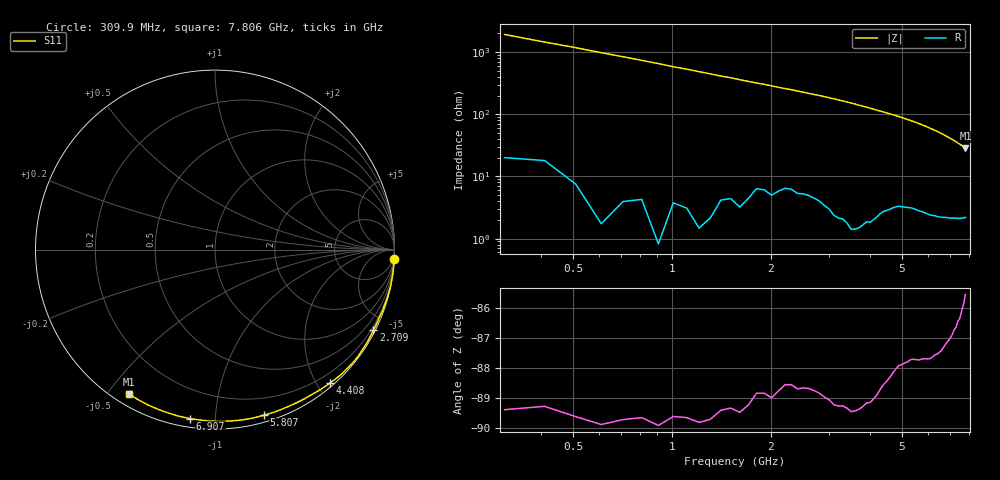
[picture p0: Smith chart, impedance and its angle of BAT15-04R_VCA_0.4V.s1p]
! Infineon Technologies  Discrete & RF Semiconductors
! BAT15-04R
! VCA = 0.4 V
! One-Port S-Parameters
# Hz  S  MA  R  50
!f  S11
!Hz  Mag  Ang
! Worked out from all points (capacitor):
!   76 points, 309.9 MHz to 7.806 GHz, reference 50 ohm
!   read as one part to ground: C = 267 fF near 309.9 MHz
!   lowest |Z| = 28.5 ohm at 7.806 GHz (marker M1)
!   S11 on the Smith chart (normalised r, x): 309.9 MHz: 0, -39; 2.709 GHz: 0.09, -4.17; 4.408 GHz: 0.05, -2.17; 5.807 GHz: 0.05, -1.33; 6.907 GHz: 0.04, -0.86; 7.806 GHz: 0.04, -0.57
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3.0985e8  0.9995 -3.0
9.0955e8  0.9998 -8.7
1.30935e9  0.9989 -12.8
1.6092e9  0.9976 -15.8
2.009e9  0.9941 -19.8
2.2089e9  0.9908 -21.8
2.70865e9  0.9903 -27.0
2.8086e9  0.9907 -28.0
3.2084e9  0.9932 -32.7
3.50825e9  0.9945 -36.5
3.70815e9  0.9933 -39.2
4.10795e9  0.9882 -44.9
4.4078e9  0.9811 -49.4
4.70765e9  0.9744 -54.0
5.0075e9  0.9691 -58.8
5.30735e9  0.9652 -64.1
5.6072e9  0.9638 -69.7
5.8071e9  0.9622 -73.6
6.007e9  0.9617 -77.8
6.2069e9  0.9601 -82.1
6.50675e9  0.9571 -89.0
6.70665e9  0.9543 -93.7
6.90655e9  0.9515 -98.4
7.10645e9  0.9489 -103.2
7.30635e9  0.946 -108.1
7.50625e9  0.9431 -113.1
7.70615e9  0.9386 -118.1
7.8061e9  0.9355 -120.7
